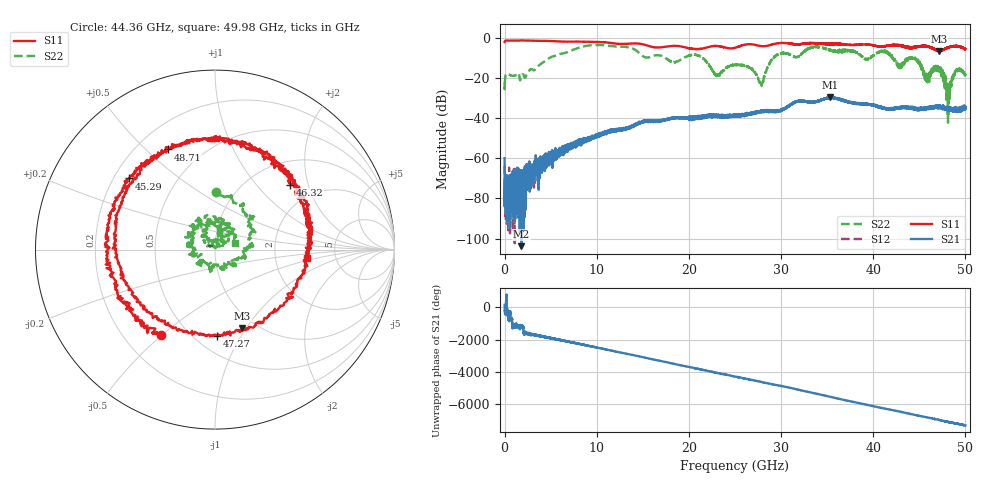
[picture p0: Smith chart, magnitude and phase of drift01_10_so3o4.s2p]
!Created with skrf (http://scikit-rf.org).
# Hz S RI R 50.0
!freq ReS11 ImS11 ReS21 ImS21 ReS12 ImS12 ReS22 ImS22
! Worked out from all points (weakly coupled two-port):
!   10001 points, 300 kHz to 50 GHz, reference 50 ohm
!   highest |S21| = -29.65 dB at 35.34 GHz (marker M1); lowest = -103.8 dB at 1.81 GHz (marker M2)
!   lowest |S11| = -6.7 dB at 47.15 GHz (marker M3), VSWR 2.72, Z = 43.2 - j48 ohm
!   |S11| at or under -10 dB: nowhere
!   |S22| runs from -42.3 to -3.6 dB; largest |S21 - S12| = 0.0041
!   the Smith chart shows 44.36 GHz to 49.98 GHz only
!   S11 on the Smith chart (normalised r, x): 44.36 GHz: 0.36, -0.49; 45.29 GHz: 0.26, +0.34; 46.32 GHz: 1.49, +1.54; 47.27 GHz: 0.64, -0.80; 48.71 GHz: 0.33, +0.59; 49.98 GHz: 3.08, -0.39
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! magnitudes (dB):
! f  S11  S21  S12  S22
! 300 kHz  -2.1  -60.0  -63.7  -22.3
! 255.3 MHz  -1.4  -78.7  -81.6  -18.0
! 1.81 GHz  -1.4  -103.8  -83.7  -19.5
! 8.335 GHz  -1.9  -51.4  -51.6  -4.6
! 16.67 GHz  -4.9  -41.5  -41.9  -8.7
! 20.96 GHz  -5.6  -39.2  -39.3  -8.7
! 23.07 GHz  -4.1  -39.3  -38.8  -18.6
! 25 GHz  -5.0  -39.2  -38.8  -13.6
! 27.83 GHz  -4.1  -36.4  -36.5  -22.6
! 29.48 GHz  -2.9  -36.7  -36.7  -8.8
! 33.34 GHz  -2.6  -32.2  -31.9  -4.7
! 35.34 GHz  -3.3  -29.7  -29.9  -6.4
! 41.67 GHz  -3.9  -35.5  -35.5  -7.8
! 44.36 GHz  -5.0  -35.0  -34.6  -9.8
! 45.29 GHz  -4.1  -35.5  -35.3  -16.2
! 46.32 GHz  -5.1  -34.9  -34.8  -16.2
! 47.15 GHz  -6.7  -35.0  -34.6  -14.7
! 47.27 GHz  -6.4  -35.0  -34.8  -16.8
! 48.12 GHz  -4.9  -35.6  -35.5  -34.9
! 48.71 GHz  -4.2  -36.1  -36.2  -18.6
! 49.98 GHz  -5.7  -34.3  -34.0  -18.5
! 50 GHz  -5.7  -35.0  -34.5  -18.7
